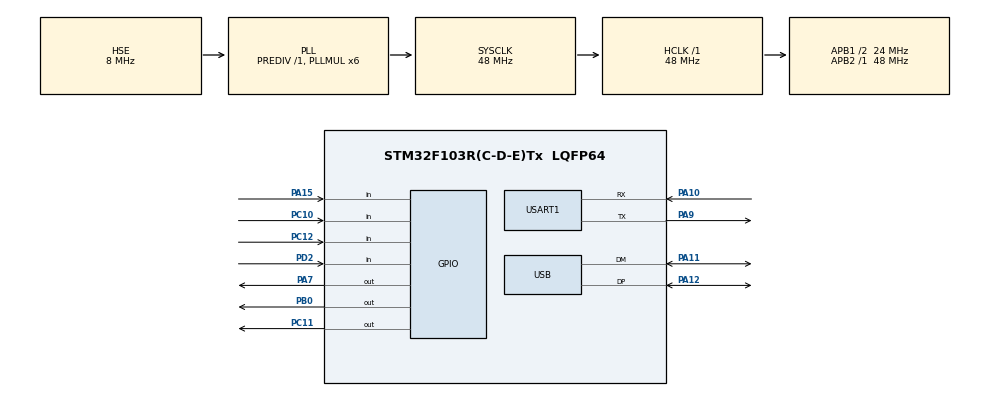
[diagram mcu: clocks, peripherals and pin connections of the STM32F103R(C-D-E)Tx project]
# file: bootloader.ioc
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Mcu.Family=STM32F1
Mcu.Name=STM32F103R(C-D-E)Tx
Mcu.Package=LQFP64
NVIC.PriorityGroup=NVIC_PRIORITYGROUP_4
NVIC.TIM1_BRK_IRQn=true\:0\:0\:false\:false\:true\:true\:true
NVIC.TIM1_CC_IRQn=true\:0\:0\:false\:false\:true\:true\:true
NVIC.TIM1_TRG_COM_IRQn=true\:0\:0\:false\:false\:true\:true\:true
NVIC.TIM1_UP_IRQn=true\:0\:0\:false\:false\:true\:true\:true
NVIC.USB_LP_CAN1_RX0_IRQn=true\:0\:0\:false\:false\:true\:false\:true
PA10.Mode=Asynchronous
PA10.Signal=USART1_RX
PA11.Mode=Device
PA11.Signal=USB_DM
PA12.Mode=Device
PA12.Signal=USB_DP
PA13.Mode=Serial_Wire
PA13.Signal=SYS_JTMS-SWDIO
PA14.Mode=Serial_Wire
PA14.Signal=SYS_JTCK-SWCLK
PA15.GPIO_PuPd=GPIO_NOPULL
PA15.Signal=GPIO_Input
PA7.PinState=GPIO_PIN_RESET
PA7.Signal=GPIO_Output
PA9.Mode=Asynchronous
PA9.Signal=USART1_TX
PB0.GPIO_ModeDefaultOutputPP=GPIO_MODE_OUTPUT_PP
PB0.Signal=GPIO_Output
PC10.GPIO_PuPd=GPIO_NOPULL
PC10.Signal=GPIO_Input
PC11.Signal=GPIO_Output
PC12.GPIO_PuPd=GPIO_NOPULL
PC12.Signal=GPIO_Input
PD0-OSC_IN.Mode=HSE-External-Oscillator
PD0-OSC_IN.Signal=RCC_OSC_IN
PD1-OSC_OUT.Mode=HSE-External-Oscillator
PD1-OSC_OUT.Signal=RCC_OSC_OUT
PD2.GPIO_PuPd=GPIO_NOPULL
PD2.Signal=GPIO_Input
ProjectManager.HeapSize=0x200
ProjectManager.StackSize=0x400
ProjectManager.TargetToolchain=STM32CubeIDE
RCC.AHBFreq_Value=48000000
RCC.APB1CLKDivider=RCC_HCLK_DIV2
RCC.APB1Freq_Value=24000000
RCC.APB1TimFreq_Value=48000000
RCC.APB2Freq_Value=48000000
RCC.APB2TimFreq_Value=48000000
RCC.HCLKFreq_Value=48000000
RCC.PLLMUL=RCC_PLL_MUL6
RCC.SYSCLKFreq_VALUE=48000000
RCC.SYSCLKSource=RCC_SYSCLKSOURCE_PLLCLK
RCC.USBFreq_Value=48000000
TIM1.Period=50000-1
TIM1.Prescaler=4800-1
USART1.VirtualMode=VM_ASYNC
USB_DEVICE.CLASS_NAME_FS=CDC
USB_DEVICE.PID_CDC_FS=22334
USB_DEVICE.VID=1122
USB_DEVICE.VirtualMode=Cdc
USB_DEVICE.VirtualModeFS=Cdc_FS
VP_TIM1_VS_ClockSourceINT.Mode=Internal
VP_USB_DEVICE_VS_USB_DEVICE_CDC_FS.Mode=CDC_FS
board=custom

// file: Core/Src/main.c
/* USER CODE BEGIN Header */
/**
  ******************************************************************************
  * @file           : main.c
  * @brief          : Main program body
  ******************************************************************************
  * @attention
  *
  * <h2><center>&copy; Copyright (c) 2020 STMicroelectronics.
  * All rights reserved.</center></h2>
  *
  * This software component is licensed by ST under BSD 3-Clause license,
  * the "License"; You may not use this file except in compliance with the
  * License. You may obtain a copy of the License at:
  *                        opensource.org/licenses/BSD-3-Clause
  *
  ******************************************************************************
  */
/* USER CODE END Header */

#include "main.h"
#include "usb_device.h"

TIM_HandleTypeDef htim1;

UART_HandleTypeDef huart1;

/* USER CODE BEGIN PV */

#ifdef __GNUC__

#define PUTCHAR_PROTOTYPE int __io_putchar(int ch)

#else

#define PUTCHAR_PROTOTYPE int fputc(int ch, FILE *f)

#endif

PUTCHAR_PROTOTYPE

{

//同样USART2改为你的串口

HAL_UART_Transmit(&huart1, (uint8_t*)&ch,1,HAL_MAX_DELAY);

    return ch;

}

/* USER CODE END PV */

void SystemClock_Config(void);
static void MX_GPIO_Init(void);
static void MX_USART1_UART_Init(void);
static void MX_TIM1_Init(void);
/* USER CODE BEGIN PFP */
#define ApplicationAddress    0x800e000
typedef void (*pFunction)(void);
uint32_t jumpAddress;
pFunction jump_To_Application;
/* USER CODE END PFP */

/* USER CODE BEGIN 0 */
//extern uint8_t FIFOBUFFER[10000];
//extern uint16_t head;
//extern uint16_t tail;

extern uint8_t my_RxBuf[64];
extern uint8_t flag2;
extern uint8_t flag3;
extern uint32_t my_RxLength;
extern uint32_t SIZE;
extern int valid_data;
extern uint32_t writeFlashData[512];
uint32_t addr = 0x0800e000;
uint32_t print_addr=0x0800e000;
uint32_t temp1=0;
extern uint32_t temp_count;
extern uint32_t count=0;
uint8_t flash_flag=0;
uint8_t flag=0;

void userAppStart(void){
	  for(int i=0;i<2;i++){
		  HAL_GPIO_WritePin(GPIOB, GPIO_PIN_0,1);
		  HAL_Delay(1000);
		  HAL_GPIO_WritePin(GPIOB, GPIO_PIN_0,0);
		  HAL_Delay(1000);
	  }
    for(int i = 0; i < 8; i++) {
	   NVIC->ICER[i] = 0xFFFFFFFF; // 关闭中断
	   NVIC->ICPR[i] = 0xFFFFFFFF; // 清除中断标志位
    }
	if(((*(__IO uint32_t *)ApplicationAddress) & 0x2FFE0000) == 0x20000000){
		jumpAddress = *(__IO uint32_t *)(ApplicationAddress +4);
		jump_To_Application  = (pFunction) jumpAddress;
		__set_MSP(*(__IO uint32_t *) ApplicationAddress);
		jump_To_Application();
	}
}

void erasureflash(uint8_t page){
	HAL_FLASH_Unlock();
	//2、擦除FLASH
	//初始化FLASH_EraseInitTypeDef
	FLASH_EraseInitTypeDef f;
	f.TypeErase = FLASH_TYPEERASE_PAGES;
	f.PageAddress = addr;
	f.NbPages = page;
	//设置PageError
	uint32_t PageError = 0;
	//调用擦除函数
	HAL_FLASHEx_Erase(&f, &PageError);
	HAL_FLASH_Lock();
}

void writeFlash(int data){
//	HAL_FLASH_Unlock();
	HAL_FLASH_Program(TYPEPROGRAM_WORD, addr,data);
	addr+=4;
//	HAL_FLASH_Lock();
}

void writeFlashTest(void){
    //1、解锁FLASH
	HAL_FLASH_Unlock();
//	//2、擦除FLASH
//	//初始化FLASH_EraseInitTypeDef
//	FLASH_EraseInitTypeDef f;
//	f.TypeErase = FLASH_TYPEERASE_PAGES;
//	f.PageAddress = addr;
//	f.NbPages = 1;
//	//设置PageError
//	uint32_t PageError = 0;
//	//调用擦除函数
//	HAL_FLASHEx_Erase(&f, &PageError);
	//3、对FLASH烧写
	for(int i=0;i<valid_data;i++){
		HAL_FLASH_Program(TYPEPROGRAM_WORD, addr, writeFlashData[i]);
		addr+=4;
	}
	//4、锁住FLASH
	HAL_FLASH_Lock();
}
//FLASH读取数据测试
void printFlashTest(void){
#if 1
	for(int i=0;i<19284;i++){//19284 valid_data
	  uint32_t temp = *(__IO uint32_t*)(print_addr);
	  printf("addr:0x%lx, data:0x%lx\r\n", print_addr, temp);
	  print_addr+=4;
	}
#endif
}

int c;
void  firmware_update(){
  if(flag3==1){
	  flash_flag=0;
	  erasureflash(SIZE);
	  flag3=0;
  }
  if(flag2==1){
	  flash_flag=0;
	  HAL_TIM_Base_Stop_IT((TIM_HandleTypeDef *)&htim1);
	  if(my_RxLength<64){
		  writeFlashTest();
//		  printFlashTest();
		  userAppStart();
	  }else{
		  writeFlashTest();
//		  printFlashTest();
	  }
	  /*
	if(my_RxLength<64){
		valid_data=my_RxLength/4+count;
		for(int i=0;i<(my_RxLength/4);i++){
			temp1=0;
			for(int j=0;j<4;j++){
				temp1 |= ((my_RxBuf[4*i+j])<<(8*j));
			}
			writeFlashData[temp_count++]=temp1;
		}
		writeFlashTest();
		userAppStart();
	}else{
		for(int i=0;i<(my_RxLength/4);i++){
			temp1=0;
			for(int j=0;j<4;j++){
				temp1 |= ((my_RxBuf[4*i+j])<<(8*j));
			}
			writeFlashData[temp_count++]=temp1;
			count++;
		}
		if(temp_count>511){
			c++;
			printf("c==%d\n",c*2048);
			valid_data=count;
			writeFlashTest();
			temp_count=0;
			count=0;
		}
	}
	*/
	flag2=0;
  }
}

void HAL_TIM_PeriodElapsedCallback(TIM_HandleTypeDef *htim){
	if(htim->Instance==TIM1){
		if(flash_flag>0)
		  HAL_TIM_Base_Stop_IT((TIM_HandleTypeDef *)&htim1);
		flash_flag++;
	}
}

/* USER CODE END 0 */

int main(void)
{

  /* MCU Configuration--------------------------------------------------------*/

  /* Reset of all peripherals, Initializes the Flash interface and the Systick. */
  HAL_Init();

  /* Configure the system clock */
  SystemClock_Config();

  /* USER CODE BEGIN SysInit */
  HAL_GPIO_WritePin(GPIOC, GPIO_PIN_11,0);
  /* USER CODE END SysInit */

  /* Initialize all configured peripherals */
  MX_GPIO_Init();
  MX_USART1_UART_Init();
  MX_USB_DEVICE_Init();
  MX_TIM1_Init();
  /* USER CODE BEGIN 2 */
  HAL_GPIO_WritePin(GPIOC, GPIO_PIN_11,1);
  /* USER CODE END 2 */

  /* Infinite loop */
  /* USER CODE BEGIN WHILE */
  HAL_TIM_Base_Start_IT((TIM_HandleTypeDef *)&htim1);
//  printFlashTest();
  while (1)
  {
	if(flash_flag>1)
	  userAppStart();
    /* USER CODE END WHILE */

    /* USER CODE BEGIN 3 */
	firmware_update();

  }
  /* USER CODE END 3 */
}

void SystemClock_Config(void)
{
  RCC_OscInitTypeDef RCC_OscInitStruct = {0};
  RCC_ClkInitTypeDef RCC_ClkInitStruct = {0};
  RCC_PeriphCLKInitTypeDef PeriphClkInit = {0};

  /** Initializes the CPU, AHB and APB busses clocks
  */
  RCC_OscInitStruct.OscillatorType = RCC_OSCILLATORTYPE_HSE;
  RCC_OscInitStruct.HSEState = RCC_HSE_ON;
  RCC_OscInitStruct.HSEPredivValue = RCC_HSE_PREDIV_DIV1;
  RCC_OscInitStruct.HSIState = RCC_HSI_ON;
  RCC_OscInitStruct.PLL.PLLState = RCC_PLL_ON;
  RCC_OscInitStruct.PLL.PLLSource = RCC_PLLSOURCE_HSE;
  RCC_OscInitStruct.PLL.PLLMUL = RCC_PLL_MUL6;
  if (HAL_RCC_OscConfig(&RCC_OscInitStruct) != HAL_OK)
  {
    Error_Handler();
  }
  /** Initializes the CPU, AHB and APB busses clocks
  */
  RCC_ClkInitStruct.ClockType = RCC_CLOCKTYPE_HCLK|RCC_CLOCKTYPE_SYSCLK
                              |RCC_CLOCKTYPE_PCLK1|RCC_CLOCKTYPE_PCLK2;
  RCC_ClkInitStruct.SYSCLKSource = RCC_SYSCLKSOURCE_PLLCLK;
  RCC_ClkInitStruct.AHBCLKDivider = RCC_SYSCLK_DIV1;
  RCC_ClkInitStruct.APB1CLKDivider = RCC_HCLK_DIV2;
  RCC_ClkInitStruct.APB2CLKDivider = RCC_HCLK_DIV1;

  if (HAL_RCC_ClockConfig(&RCC_ClkInitStruct, FLASH_LATENCY_1) != HAL_OK)
  {
    Error_Handler();
  }
  PeriphClkInit.PeriphClockSelection = RCC_PERIPHCLK_USB;
  PeriphClkInit.UsbClockSelection = RCC_USBCLKSOURCE_PLL;
  if (HAL_RCCEx_PeriphCLKConfig(&PeriphClkInit) != HAL_OK)
  {
    Error_Handler();
  }
}

static void MX_TIM1_Init(void)
{

  TIM_ClockConfigTypeDef sClockSourceConfig = {0};
  TIM_MasterConfigTypeDef sMasterConfig = {0};

  htim1.Instance = TIM1;
  htim1.Init.Prescaler = 4800-1;
  htim1.Init.CounterMode = TIM_COUNTERMODE_UP;
  htim1.Init.Period = 50000-1;
  htim1.Init.ClockDivision = TIM_CLOCKDIVISION_DIV1;
  htim1.Init.RepetitionCounter = 0;
  htim1.Init.AutoReloadPreload = TIM_AUTORELOAD_PRELOAD_DISABLE;
  if (HAL_TIM_Base_Init(&htim1) != HAL_OK)
  {
    Error_Handler();
  }
  sClockSourceConfig.ClockSource = TIM_CLOCKSOURCE_INTERNAL;
  if (HAL_TIM_ConfigClockSource(&htim1, &sClockSourceConfig) != HAL_OK)
  {
    Error_Handler();
  }
  sMasterConfig.MasterOutputTrigger = TIM_TRGO_RESET;
  sMasterConfig.MasterSlaveMode = TIM_MASTERSLAVEMODE_DISABLE;
  if (HAL_TIMEx_MasterConfigSynchronization(&htim1, &sMasterConfig) != HAL_OK)
  {
    Error_Handler();
  }

}

static void MX_USART1_UART_Init(void)
{

  huart1.Instance = USART1;
  huart1.Init.BaudRate = 115200;
  huart1.Init.WordLength = UART_WORDLENGTH_8B;
  huart1.Init.StopBits = UART_STOPBITS_1;
  huart1.Init.Parity = UART_PARITY_NONE;
  huart1.Init.Mode = UART_MODE_TX_RX;
  huart1.Init.HwFlowCtl = UART_HWCONTROL_NONE;
  huart1.Init.OverSampling = UART_OVERSAMPLING_16;
  if (HAL_UART_Init(&huart1) != HAL_OK)
  {
    Error_Handler();
  }

}

static void MX_GPIO_Init(void)
{
  GPIO_InitTypeDef GPIO_InitStruct = {0};

  /* GPIO Ports Clock Enable */
  __HAL_RCC_GPIOD_CLK_ENABLE();
  __HAL_RCC_GPIOA_CLK_ENABLE();
  __HAL_RCC_GPIOB_CLK_ENABLE();
  __HAL_RCC_GPIOC_CLK_ENABLE();

  /*Configure GPIO pin Output Level */
  HAL_GPIO_WritePin(GPIOA, GPIO_PIN_7, GPIO_PIN_RESET);

  /*Configure GPIO pin Output Level */
  HAL_GPIO_WritePin(GPIOB, GPIO_PIN_0, GPIO_PIN_RESET);

  /*Configure GPIO pin Output Level */
  HAL_GPIO_WritePin(GPIOC, GPIO_PIN_11, GPIO_PIN_RESET);

  /*Configure GPIO pin : PA7 */
  GPIO_InitStruct.Pin = GPIO_PIN_7;
  GPIO_InitStruct.Mode = GPIO_MODE_OUTPUT_PP;
  GPIO_InitStruct.Pull = GPIO_NOPULL;
  GPIO_InitStruct.Speed = GPIO_SPEED_FREQ_LOW;
  HAL_GPIO_Init(GPIOA, &GPIO_InitStruct);

  /*Configure GPIO pin : PB0 */
  GPIO_InitStruct.Pin = GPIO_PIN_0;
  GPIO_InitStruct.Mode = GPIO_MODE_OUTPUT_PP;
  GPIO_InitStruct.Pull = GPIO_NOPULL;
  GPIO_InitStruct.Speed = GPIO_SPEED_FREQ_LOW;
  HAL_GPIO_Init(GPIOB, &GPIO_InitStruct);

  /*Configure GPIO pin : PA15 */
  GPIO_InitStruct.Pin = GPIO_PIN_15;
  GPIO_InitStruct.Mode = GPIO_MODE_INPUT;
  GPIO_InitStruct.Pull = GPIO_NOPULL;
  HAL_GPIO_Init(GPIOA, &GPIO_InitStruct);

  /*Configure GPIO pins : PC10 PC12 */
  GPIO_InitStruct.Pin = GPIO_PIN_10|GPIO_PIN_12;
  GPIO_InitStruct.Mode = GPIO_MODE_INPUT;
  GPIO_InitStruct.Pull = GPIO_NOPULL;
  HAL_GPIO_Init(GPIOC, &GPIO_InitStruct);

  /*Configure GPIO pin : PC11 */
  GPIO_InitStruct.Pin = GPIO_PIN_11;
  GPIO_InitStruct.Mode = GPIO_MODE_OUTPUT_PP;
  GPIO_InitStruct.Pull = GPIO_NOPULL;
  GPIO_InitStruct.Speed = GPIO_SPEED_FREQ_LOW;
  HAL_GPIO_Init(GPIOC, &GPIO_InitStruct);

  /*Configure GPIO pin : PD2 */
  GPIO_InitStruct.Pin = GPIO_PIN_2;
  GPIO_InitStruct.Mode = GPIO_MODE_INPUT;
  GPIO_InitStruct.Pull = GPIO_NOPULL;
  HAL_GPIO_Init(GPIOD, &GPIO_InitStruct);

}

void Error_Handler(void)
{
}

/************************ (C) COPYRIGHT STMicroelectronics *****END OF FILE****/
